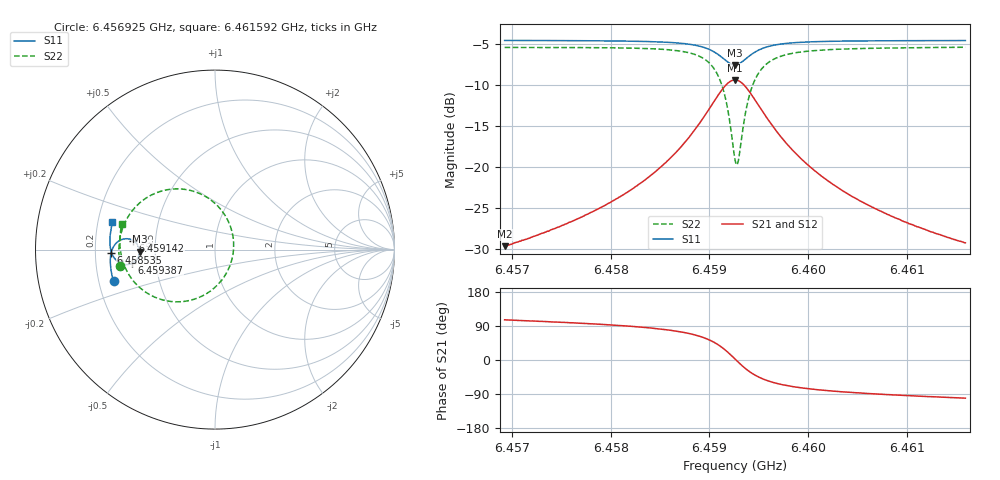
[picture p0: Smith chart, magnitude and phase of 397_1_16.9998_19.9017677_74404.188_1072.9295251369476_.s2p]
#  HZ  S  RI  R  50.00
! Rohde & Schwarz Vector Network Analyzer
! Rohde-Schwarz,ZNB20-2Port,1311601062101988,3.16
! Created: UTC 3/20/2024, 11:09:53 PM
! freq[Hz]  re:S11  im:S11  re:S21  im:S21  re:S12  im:S12  re:S22  im:S22
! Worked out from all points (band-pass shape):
!   401 points, 6.456925 GHz to 6.461592 GHz, reference 50 ohm
!   highest |S21| = -9.36 dB at 6.459258 GHz (marker M1); lowest = -29.6 dB at 6.456925 GHz (marker M2)
!   |S21| within 3 dB of the highest: 6.459025 GHz to 6.459491 GHz (466.6 kHz wide, 0.00722 % of centre)
!   lowest |S11| = -7.5 dB at 6.459258 GHz (marker M3), VSWR 2.45, Z = 20.4 - j0.559 ohm
!   |S11| at or under -10 dB: nowhere
!   |S22| runs from -19.7 to -5.4 dB; largest |S21 - S12| = 0.013
!   S11 on the Smith chart (normalised r, x): 6.456925 GHz: 0.26, -0.14; 6.458535 GHz: 0.27, -0.01; 6.459142 GHz: 0.37, +0.05; 6.459387 GHz: 0.36, -0.07; 6.461592 GHz: 0.26, +0.12
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6.456925e9  -0.5654 -0.1762  -0.00916 0.0318  -0.00739 0.0318  -0.5294 -0.0892
6.4577067e9  -0.5802 -0.1082  -0.00591 0.0496  -0.0034 0.049  -0.5357 0.000919
6.45815e9  -0.5834 -0.064  0.000125 0.0695  0.00334 0.0681  -0.5281 0.0702
6.4584883e9  -0.5797 -0.0238  0.0133 0.0973  0.0173 0.0946  -0.5041 0.1456
6.458535e9  -0.5785 -0.0176  0.0167 0.1027  0.0206 0.0997  -0.4978 0.1587
6.4587567e9  -0.5655 0.0162  0.0445 0.1361  0.0485 0.1312  -0.446 0.2345
6.4589083e9  -0.5431 0.0426  0.0889 0.1664  0.0921 0.1598  -0.3642 0.2989
6.4590483e9  -0.5001 0.0603  0.1747 0.1831  0.1757 0.1759  -0.2077 0.3383
6.4591416e9  -0.456 0.0507  0.2634 0.1528  0.2638 0.147  -0.0432 0.2903
6.4591883e9  -0.4352 0.0322  0.307 0.111  0.3079 0.1057  0.0388 0.2155
6.4592583e9  -0.4205 -0.0113  0.34 0.0155  0.3435 0.00873  0.1038 0.0389
6.45927e9  -0.4208 -0.0191  0.3399 -0.00203  0.3437 -0.00946  0.1038 0.00586
6.4592933e9  -0.4242 -0.0346  0.3345 -0.0364  0.3382 -0.0451  0.0932 -0.059
6.45934e9  -0.4396 -0.0602  0.3066 -0.0956  0.3088 -0.1071  0.0372 -0.1708
6.4593866e9  -0.4613 -0.0764  0.2652 -0.1361  0.2645 -0.149  -0.0462 -0.2447
6.45948e9  -0.504 -0.0828  0.1818 -0.1672  0.1758 -0.1784  -0.2123 -0.291
6.4596316e9  -0.5474 -0.0623  0.0952 -0.1538  0.087 -0.1598  -0.3771 -0.243
6.459795e9  -0.5687 -0.0348  0.051 -0.1265  0.0435 -0.1292  -0.4568 -0.1722
6.46004e9  -0.5812 0.000757  0.0221 -0.0955  0.0165 -0.0962  -0.5043 -0.091
6.4603899e9  -0.5857 0.042  0.00631 -0.0692  0.00235 -0.0688  -0.5257 -0.0127
6.4608216e9  -0.5836 0.0851  -0.00136 -0.0511  -0.00417 -0.0502  -0.5298 0.0552
6.4615916e9  -0.5712 0.1531  -0.00642 -0.034  -0.00808 -0.0331  -0.5185 0.145
